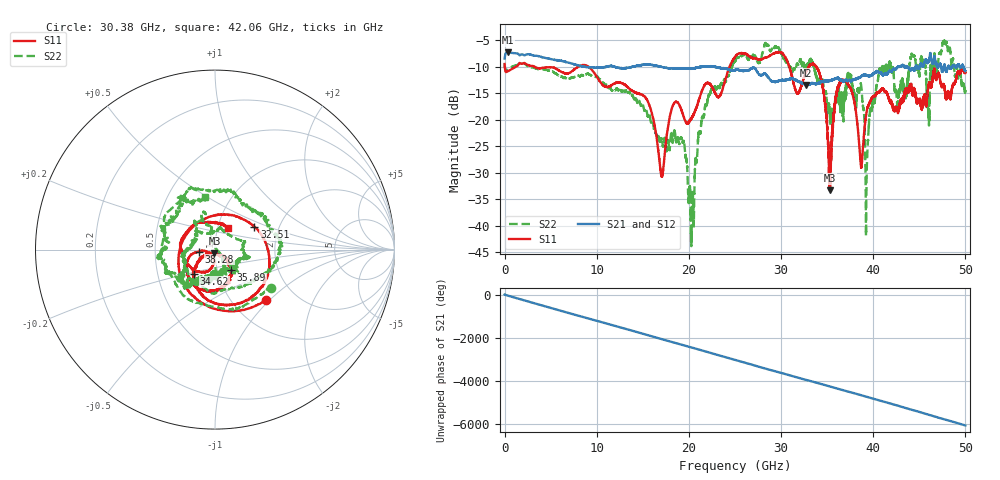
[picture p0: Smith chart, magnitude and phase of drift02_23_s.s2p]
!Created with skrf (http://scikit-rf.org).
# Hz S RI R 50.0
!freq ReS11 ImS11 ReS21 ImS21 ReS12 ImS12 ReS22 ImS22
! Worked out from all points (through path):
!   10001 points, 300 kHz to 50 GHz, reference 50 ohm
!   highest |S21| = -7.31 dB at 325.3 MHz (marker M1); lowest = -13.5 dB at 32.73 GHz (marker M2)
!   group delay of S21, straight-line fit = 335 ps
!   lowest |S11| = -33.3 dB at 35.28 GHz (marker M3), VSWR 1.04, Z = 49.6 - j2.11 ohm
!   |S11| at or under -10 dB: 3.234 GHz to 8.006 GHz (4.772 GHz wide, 84.9 % of centre); 9.105 GHz to 24.41 GHz (15.31 GHz wide, 91.3 % of centre); 33.83 GHz to end of sweep (the widest 3 of 7)
!   |S22| runs from -43.9 to -5.0 dB; largest |S21 - S12| = 0.014
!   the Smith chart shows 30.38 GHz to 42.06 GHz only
!   S11 on the Smith chart (normalised r, x): 30.38 GHz: 1.41, -0.95; 32.51 GHz: 1.50, +0.40; 34.62 GHz: 0.77, -0.21; 35.89 GHz: 1.16, -0.28; 38.28 GHz: 0.84, -0.02; 42.06 GHz: 1.12, +0.28
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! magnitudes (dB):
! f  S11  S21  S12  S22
! 300 kHz  -9.5  -8.5  -8.5  -9.5
! 325.3 MHz  -10.9  -7.3  -7.3  -10.6
! 8.335 GHz  -9.7  -9.9  -9.9  -11.6
! 16.67 GHz  -25.8  -9.9  -9.9  -23.1
! 19.31 GHz  -18.8  -10.4  -10.3  -24.3
! 20.35 GHz  -19.4  -10.4  -10.4  -35.2
! 21.94 GHz  -13.1  -10.0  -10.0  -17.0
! 25 GHz  -8.2  -10.6  -10.6  -9.0
! 30.38 GHz  -8.0  -12.5  -12.6  -8.5
! 32.51 GHz  -12.0  -13.2  -13.2  -9.7
! 32.73 GHz  -10.9  -13.5  -13.5  -10.0
! 33.34 GHz  -9.5  -13.2  -13.2  -9.0
! 34.62 GHz  -15.0  -12.7  -12.7  -14.0
! 35.28 GHz  -33.3  -12.6  -12.6  -18.8
! 35.89 GHz  -16.7  -12.3  -12.3  -15.7
! 38.28 GHz  -20.9  -12.3  -12.2  -14.4
! 39.31 GHz  -18.2  -11.6  -11.6  -28.6
! 41.67 GHz  -15.9  -11.0  -11.1  -9.8
! 42.06 GHz  -17.0  -10.7  -10.7  -10.5
! 45.95 GHz  -14.3  -9.1  -9.2  -17.5
! 47.77 GHz  -14.4  -9.9  -9.8  -5.4
! 50 GHz  -11.1  -10.8  -10.8  -14.4
